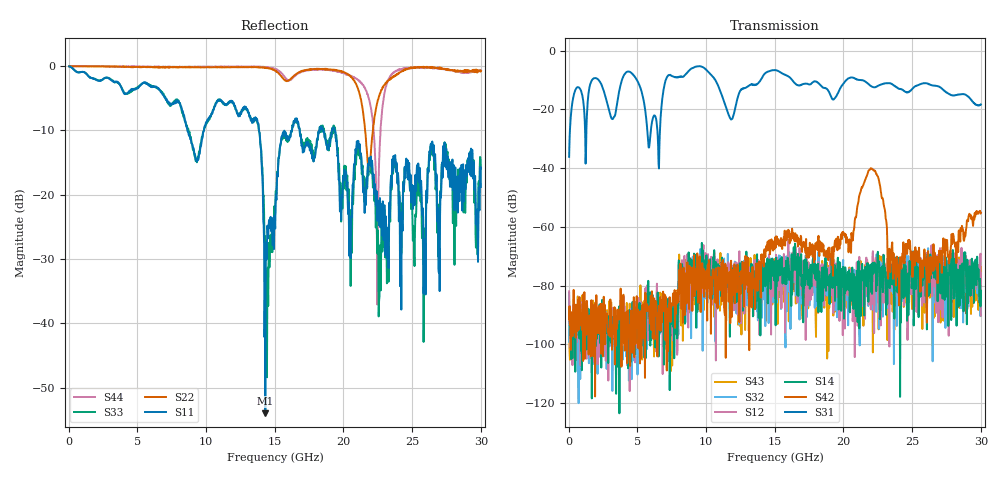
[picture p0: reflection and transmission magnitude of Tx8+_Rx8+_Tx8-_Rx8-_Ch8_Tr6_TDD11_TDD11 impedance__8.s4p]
! MS46524B
! 2428202/M1: 23092762/M2: 24162104
! 1/12/2026 6:41:47 PM
! C:\ANRITSUVNA\TEMP\8.S4P
! CHANNEL.8
! TR.MEASUREMENT
! CORRECTED.DATA
# GHZ S RI R 50.0
! FREQ.GHZ  S11RE  S11IM  S12RE  S12IM  S13RE  S13IM  S14RE  S14IM
!  S21RE  S21IM  S22RE  S22IM  S23RE  S23IM  S24RE  S24IM
!  S31RE  S31IM  S32RE  S32IM  S33RE  S33IM  S34RE  S34IM
!  S41RE  S41IM  S42RE  S42IM  S43RE  S43IM  S44RE  S44IM
!; PortSelection: Port_1234
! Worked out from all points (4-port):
!   1000 points, 30 MHz to 30 GHz, reference 50 ohm
!   strongest paths, dB at 30 MHz, 7.53 GHz, 15.03 GHz, 22.53 GHz, 30 GHz:
!     S31: -36.2, -8.7, -6.6, -11.9, -18.3
!     S42: -91.5, -86.7, -63.5, -43.2, -55.2
!     S14: -89.3, -86.1, -72.8, -71.7, -81.8
!     S12: -81.9, -96.1, -77.0, -85.8, -90.2
!     S32: -82.5, -95.7, -74.0, -77.8, -82.6
!     S43: -85.3, -107.2, -80.7, -74.6, -73.6
!   lowest |S11| = -54.0 dB at 14.31 GHz (marker M1), VSWR 1.00, Z = 49.9 - j0.151 ohm
!   |S11| at or under -10 dB: 13.85 GHz to 16.25 GHz (2.394 GHz wide, 15.9 % of centre); 16.82 GHz to 18.25 GHz (1.435 GHz wide, 8.19 % of centre); 19.36 GHz to end of sweep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
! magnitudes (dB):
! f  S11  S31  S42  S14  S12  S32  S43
! 30 MHz  0.0  -36.2  -91.5  -89.3  -81.9  -82.5  -85.3
! 12.93 GHz  -6.6  -12.5  -76.4  -68.4  -80.3  -86.1  -69.9
! 14.31 GHz  -54.0  -7.7  -70.3  -80.2  -73.5  -93.8  -74.8
! 20.4 GHz  -25.1  -9.4  -66.6  -74.8  -79.8  -78.5  -80.0
! 21.99 GHz  -14.0  -12.1  -40.0  -78.2  -88.1  -73.9  -76.0
! 23.73 GHz  -15.1  -12.0  -70.8  -74.3  -80.2  -71.9  -79.5
! 30 GHz  -18.8  -18.3  -55.2  -81.8  -90.2  -82.6  -73.6
